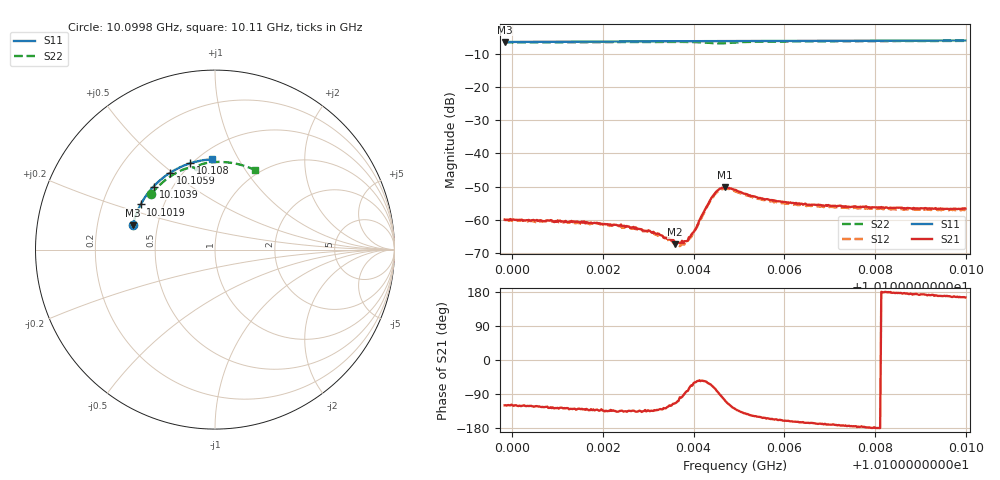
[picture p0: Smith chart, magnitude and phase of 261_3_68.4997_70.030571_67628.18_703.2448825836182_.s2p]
#  HZ  S  RI  R  50.00
! Rohde & Schwarz Vector Network Analyzer
! Rohde-Schwarz,ZNB20-2Port,1311601062101988,3.16
! Created: UTC 3/20/2024, 5:00:16 PM
! freq[Hz]  re:S11  im:S11  re:S21  im:S21  re:S12  im:S12  re:S22  im:S22
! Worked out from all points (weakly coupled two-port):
!   401 points, 10.0998 GHz to 10.11 GHz, reference 50 ohm
!   highest |S21| = -50.24 dB at 10.1047 GHz (marker M1); lowest = -67.3 dB at 10.1036 GHz (marker M2)
!   lowest |S11| = -6.4 dB at 10.0998 GHz (marker M3), VSWR 2.83, Z = 18 + j6.34 ohm
!   |S11| at or under -10 dB: nowhere
!   |S22| runs from -6.8 to -6.1 dB; largest |S21 - S12| = 0.00031
!   S11 on the Smith chart (normalised r, x): 10.0998 GHz: 0.36, +0.13; 10.1019 GHz: 0.37, +0.24; 10.1039 GHz: 0.39, +0.36; 10.1059 GHz: 0.43, +0.49; 10.108 GHz: 0.49, +0.63; 10.11 GHz: 0.58, +0.78
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1.009983e10  -0.4581 0.136  -0.0005 -0.000876  -0.000407 -0.000904  -0.3564 0.3073
1.010154e10  -0.4235 0.2334  -0.000593 -0.000738  -0.000508 -0.00071  -0.2793 0.3853
1.010187e10  -0.4142 0.2513  -0.000587 -0.000686  -0.000545 -0.00071  -0.262 0.3984
1.010243e10  -0.3972 0.2807  -0.000556 -0.000586  -0.000487 -0.000581  -0.2318 0.4185
1.010281e10  -0.3843 0.2999  -0.000501 -0.000528  -0.000452 -0.000546  -0.2096 0.4309
1.010324e10  -0.3687 0.3211  -0.0004 -0.000466  -0.000366 -0.000453  -0.1834 0.4434
1.010359e10  -0.3549 0.3375  -0.000177 -0.000393  -0.000146 -0.000419  -0.1601 0.452
1.010375e10  -0.3489 0.3446  -6.43e-05 -0.000479  1.49e-05 -0.000442  -0.1495 0.4551
1.010382e10  -0.3456 0.348  3.55e-05 -0.000475  9.86e-05 -0.000453  -0.1438 0.4561
1.01039e10  -0.3425 0.3513  0.000137 -0.00053  0.000191 -0.000472  -0.1383 0.4572
1.010405e10  -0.3361 0.358  0.000382 -0.000624  0.000441 -0.000586  -0.1264 0.4581
1.010423e10  -0.3286 0.3656  0.000753 -0.00108  0.00078 -0.000984  -0.1127 0.4559
1.010443e10  -0.3197 0.374  0.000765 -0.00218  0.000892 -0.00202  -0.1024 0.447
1.010456e10  -0.314 0.3791  9.73e-05 -0.00286  0.000344 -0.00273  -0.1035 0.4427
1.010469e10  -0.3083 0.3842  -0.000842 -0.00296  -0.000543 -0.00289  -0.1066 0.4456
1.010491e10  -0.2978 0.3933  -0.00178 -0.0022  -0.00153 -0.00223  -0.1013 0.4594
1.010542e10  -0.2737 0.4121  -0.00185 -0.00108  -0.0017 -0.00119  -0.0682 0.4774
1.010593e10  -0.2481 0.4294  -0.00174 -0.000684  -0.00159 -0.000815  -0.0337 0.4848
1.010662e10  -0.2122 0.4502  -0.00165 -0.000409  -0.00156 -0.000527  0.0116 0.4885
1.010796e10  -0.1368 0.4813  -0.00154 -2.92e-05  -0.00147 -0.000198  0.0985 0.4822
1.010832e10  -0.1163 0.4873  -0.00151 4.48e-05  -0.00146 -0.000148  0.1207 0.4779
1.010999e10  -0.0164 0.5032  -0.00143 0.00038  -0.0014 0.000224  0.2217 0.4436
